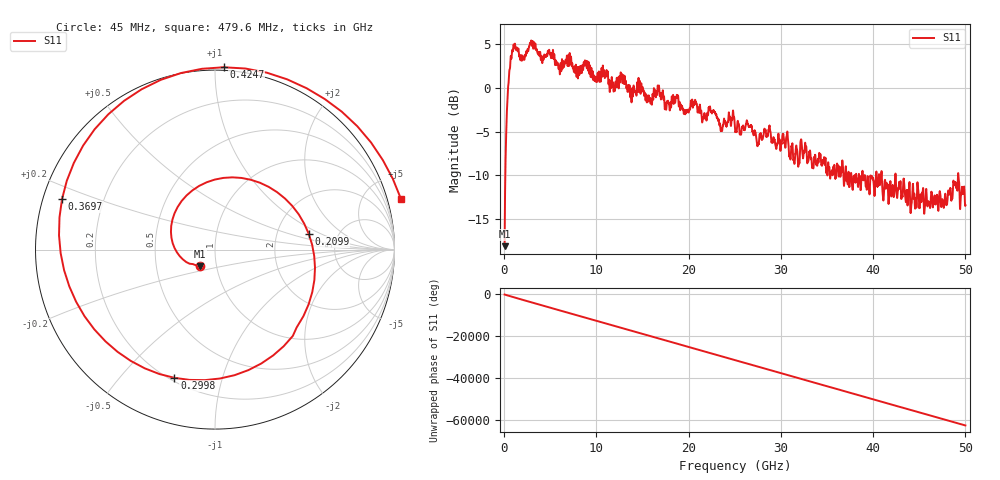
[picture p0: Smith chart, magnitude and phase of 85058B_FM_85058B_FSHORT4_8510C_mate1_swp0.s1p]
!Created with skrf (http://scikit-rf.org).
# Hz S RI R 50.0
!freq ReS11 ImS11
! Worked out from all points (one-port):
!   10001 points, 45 MHz to 50 GHz, reference 50 ohm
!   lowest |S11| = -18.1 dB at 45 MHz (marker M1), VSWR 1.28, Z = 41.8 - j7.89 ohm
!   |S11| at or under -10 dB: 39.1 GHz to 40.31 GHz (1.211 GHz wide, 3.05 % of centre); 40.94 GHz to 42.4 GHz (1.462 GHz wide, 3.51 % of centre); 42.44 GHz to 49.2 GHz (6.766 GHz wide, 14.8 % of centre) (the widest 3 of 22)
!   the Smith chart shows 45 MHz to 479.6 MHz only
!   S11 on the Smith chart (normalised r, x): 45 MHz: 0.84, -0.16; 209.9 MHz: 3.05, +0.75; 299.8 MHz: 0.22, -0.71; 369.7 MHz: 0.06, +0.16; 424.7 MHz: -0.02, +1.05; 479.6 MHz: -1.86, +6.92
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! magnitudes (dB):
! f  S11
! 45 MHz  -18.1
! 209.9 MHz  -5.5
! 299.8 MHz  -2.5
! 369.7 MHz  -0.9
! 424.7 MHz  0.1
! 479.6 MHz  0.6
! 789.3 MHz  3.4
! 1.169 GHz  5.1
! 1.973 GHz  3.7
! 3.017 GHz  4.8
! 6.289 GHz  2.9
! 12.53 GHz  0.9
! 15.8 GHz  -1.1
! 18.78 GHz  -1.1
! 19.57 GHz  -2.6
! 20.6 GHz  -1.9
! 23.52 GHz  -4.7
! 25.02 GHz  -4.8
! 26.52 GHz  -4.5
! 27.51 GHz  -6.5
! 30.49 GHz  -6.8
! 31.27 GHz  -6.6
! 32.39 GHz  -8.0
! 37.51 GHz  -10.5
! 43.76 GHz  -13.1
! 47.81 GHz  -12.2
! 49.09 GHz  -11.3
! 50 GHz  -13.5
